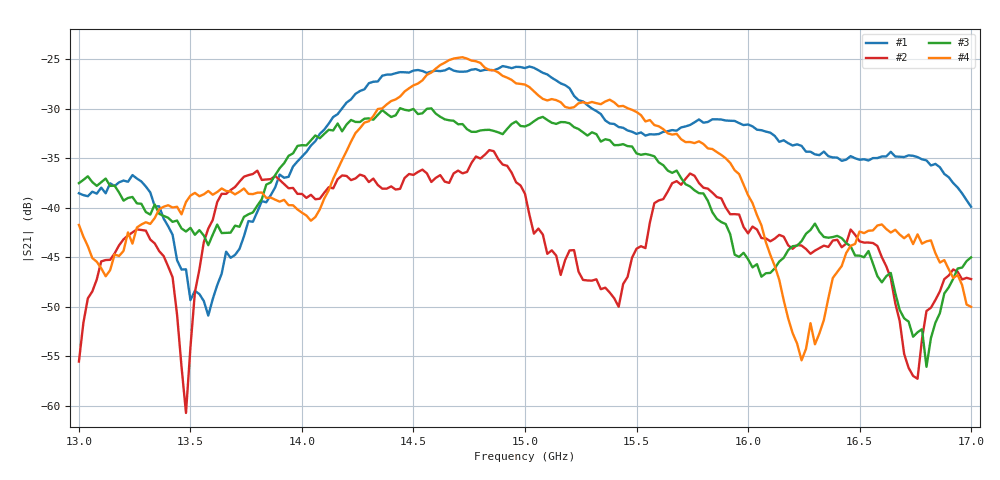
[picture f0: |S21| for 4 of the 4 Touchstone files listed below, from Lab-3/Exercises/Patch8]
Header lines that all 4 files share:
!Keysight Technologies,P9374A,MY57211810,A.19.30.04
!S2P File: Measurements: S11, S21, S12, S22:
# Hz S  dB  R 50
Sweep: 13 GHz to 17 GHz
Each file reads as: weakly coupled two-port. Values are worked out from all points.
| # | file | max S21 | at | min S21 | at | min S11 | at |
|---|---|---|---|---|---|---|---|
| 1 | Patch8A.s2p | -25.69 dB | 14.9 GHz | -50.9 dB | 13.58 GHz | -61.5 dB | 13.68 GHz |
| 2 | Patch8B.s2p | -34.18 dB | 14.84 GHz | -60.8 dB | 13.48 GHz | -47.8 dB | 13.84 GHz |
| 3 | Patch8C.s2p | -29.95 dB | 14.44 GHz | -56.1 dB | 16.8 GHz | -40.9 dB | 14 GHz |
| 4 | Patch8D.s2p | -24.80 dB | 14.72 GHz | -55.4 dB | 16.24 GHz | -46.3 dB | 14.24 GHz |
